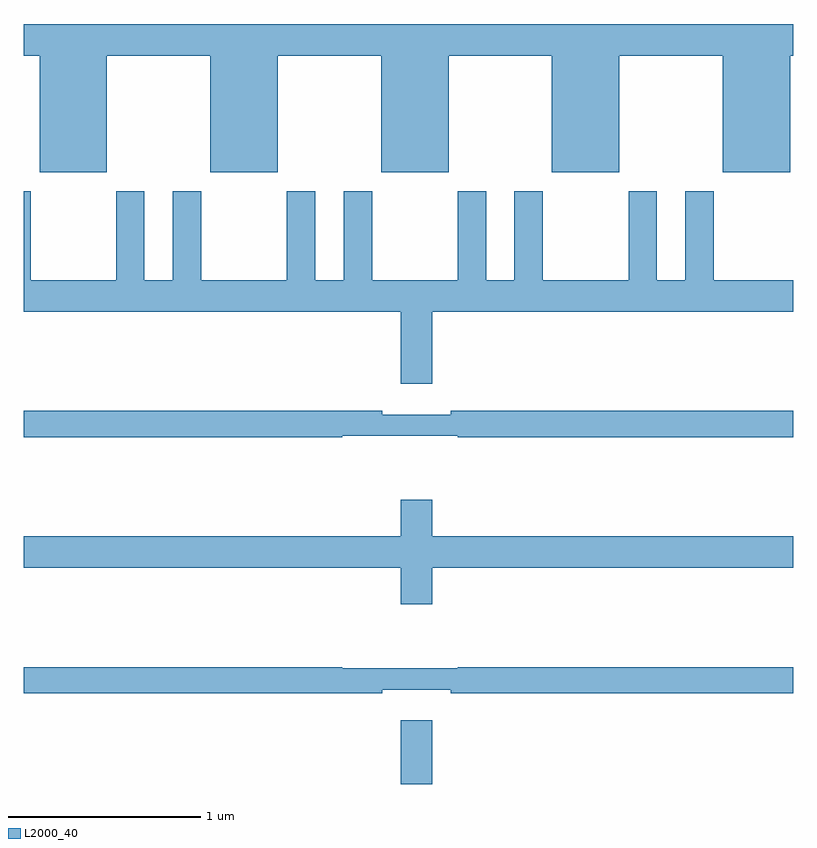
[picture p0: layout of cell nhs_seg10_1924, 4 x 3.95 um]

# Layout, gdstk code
import gdstk
lib = gdstk.Library(unit=1e-6, precision=1e-09)
def R(c, l, rs):  # rectangles x0, y0, x1, y1
    for r in rs: c.add(gdstk.rectangle(r[:2], r[2:], *l))
def P(c, l, *ps):  # polygons
    for p in ps: c.add(gdstk.Polygon(p, *l))
L2000_40 = (2000, 40)

nhs_seg10_1924 = lib.new_cell('nhs_seg10_1924')
R(nhs_seg10_1924, L2000_40, [(212.96,1324.5,213.124,1324.831)])
P(nhs_seg10_1924, L2000_40, [(211.432,1328.288),(211.97,1328.288),(211.97,1327.682),(212.32,1327.682),(212.32,1328.288),(212.858,1328.288),(212.858,1327.682),(213.208,1327.682),(213.208,1328.288),(213.746,1328.288),(213.746,1327.682),(214.096,1327.682),(214.096,1328.288),(214.634,1328.288),(214.634,1327.682),(214.984,1327.682),(214.984,1328.288),(215,1328.288),(215,1328.452),(211,1328.452),(211,1328.288),(211.082,1328.288),(211.082,1327.682),(211.432,1327.682)],
  [(215,1327.12),(214.587,1327.12),(214.587,1327.582),(214.439,1327.582),(214.439,1327.12),(214.291,1327.12),(214.291,1327.582),(214.144,1327.582),(214.144,1327.12),(213.699,1327.12),(213.699,1327.582),(213.551,1327.582),(213.551,1327.12),(213.403,1327.12),(213.403,1327.582),(213.256,1327.582),(213.256,1327.12),(212.811,1327.12),(212.811,1327.582),(212.663,1327.582),(212.663,1327.12),(212.515,1327.12),(212.515,1327.582),(212.368,1327.582),(212.368,1327.12),(211.923,1327.12),(211.923,1327.582),(211.775,1327.582),(211.775,1327.12),(211.627,1327.12),(211.627,1327.582),(211.48,1327.582),(211.48,1327.12),(211.035,1327.12),(211.035,1327.582),(211,1327.582),(211,1326.956),(212.96,1326.956),(212.96,1326.582),(213.124,1326.582),(213.124,1326.956),(215,1326.956)],
  [(212.655,1326.312),(213.255,1326.312),(213.255,1326.304),(215,1326.304),(215,1326.44),(213.22,1326.44),(213.22,1326.421),(212.864,1326.421),(212.864,1326.44),(211,1326.44),(211,1326.304),(212.655,1326.304)],
  [(213.124,1325.624),(215,1325.624),(215,1325.788),(213.124,1325.788),(213.124,1325.977),(212.96,1325.977),(212.96,1325.788),(211,1325.788),(211,1325.624),(212.96,1325.624),(212.96,1325.436),(213.124,1325.436)],
  [(212.864,1324.991),(213.22,1324.991),(213.22,1324.972),(215,1324.972),(215,1325.108),(213.255,1325.108),(213.255,1325.101),(212.655,1325.101),(212.655,1325.108),(211,1325.108),(211,1324.972),(212.864,1324.972)])

lib.write_gds('nhs_seg10_1924.gds')
